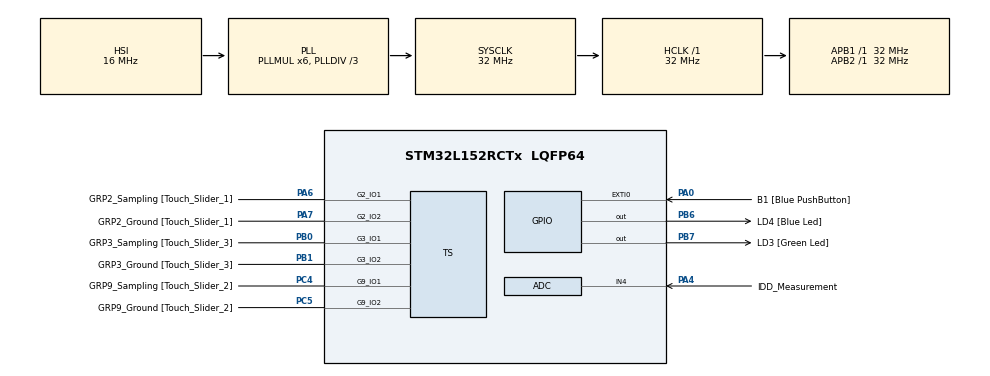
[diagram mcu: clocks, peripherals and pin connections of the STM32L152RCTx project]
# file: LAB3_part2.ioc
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ADC.Channel=ADC_CHANNEL_4
ADC.Channel-0\#ChannelRegularConversion=ADC_CHANNEL_4
ADC.Channel-IN4=ADC_CHANNEL_4
ADC.ExternalTrigConv=ADC_EXTERNALTRIGCONV_T2_CC3
ADC.ExternalTrigConv-0\#ChannelRegularConversion=ADC_SOFTWARE_START
ADC.ExternalTrigConvEdge=ADC_EXTERNALTRIGCONVEDGE_RISING
ADC.Rank-0\#ChannelRegularConversion=1
ADC.SamplingTime-0\#ChannelRegularConversion=ADC_SAMPLETIME_4CYCLES
Mcu.Family=STM32L1
Mcu.Name=STM32L152RCTx
Mcu.Package=LQFP64
NVIC.PriorityGroup=NVIC_PRIORITYGROUP_0
PA0-WKUP1.GPIO_Label=B1 [Blue PushButton]
PA0-WKUP1.GPIO_ModeDefaultEXTI=GPIO_MODE_EVT_RISING
PA0-WKUP1.GPIO_PuPd=GPIO_NOPULL
PA0-WKUP1.Signal=GPXTI0
PA1.GPIO_Label=SEG0 [GH08172T_SEG0]
PA1.GPIO_Mode=GPIO_MODE_AF_PP
PA1.GPIO_PuPd=GPIO_NOPULL
PA1.GPIO_Speed=GPIO_SPEED_FREQ_LOW
PA1.Signal=LCD_SEG0
PA10.GPIO_Label=COM2 [GH08172T_COM2]
PA10.GPIO_Mode=GPIO_MODE_AF_PP
PA10.GPIO_PuPd=GPIO_NOPULL
PA10.GPIO_Speed=GPIO_SPEED_FREQ_LOW
PA10.Signal=LCD_COM2
PA13.GPIO_Label=SWDIO
PA13.Mode=Serial_Wire
PA13.Signal=SYS_JTMS-SWDIO
PA14.GPIO_Label=SWCLK
PA14.Mode=Serial_Wire
PA14.Signal=SYS_JTCK-SWCLK
PA15.GPIO_Label=SEG12 [GH08172T_SEG12]
PA15.GPIO_Mode=GPIO_MODE_AF_PP
PA15.GPIO_PuPd=GPIO_NOPULL
PA15.GPIO_Speed=GPIO_SPEED_FREQ_LOW
PA15.Signal=LCD_SEG17
PA2.GPIO_Label=SEG1 [GH08172T_SEG1]
PA2.GPIO_Mode=GPIO_MODE_AF_PP
PA2.GPIO_PuPd=GPIO_NOPULL
PA2.GPIO_Speed=GPIO_SPEED_FREQ_LOW
PA2.Signal=LCD_SEG1
PA3.GPIO_Label=SEG2 [GH08172T_SEG2]
PA3.GPIO_Mode=GPIO_MODE_AF_PP
PA3.GPIO_PuPd=GPIO_NOPULL
PA3.GPIO_Speed=GPIO_SPEED_FREQ_LOW
PA3.Signal=LCD_SEG2
PA4.GPIO_Label=IDD_Measurement
PA4.GPIO_Mode=GPIO_MODE_ANALOG
PA4.GPIO_PuPd=GPIO_NOPULL
PA4.Mode=IN4
PA4.Signal=ADC_IN4
PA6.GPIO_Label=GRP2_Sampling [Touch_Slider_1]
PA6.Mode=G2_IO1-Sampling
PA6.Signal=TS_G2_IO1
PA7.GPIO_Label=GRP2_Ground [Touch_Slider_1]
PA7.Mode=G2_IO2-Channel
PA7.Signal=TS_G2_IO2
PA8.GPIO_Label=COM0 [GH08172T_COM0]
PA8.GPIO_Mode=GPIO_MODE_AF_PP
PA8.GPIO_PuPd=GPIO_NOPULL
PA8.GPIO_Speed=GPIO_SPEED_FREQ_LOW
PA8.Signal=LCD_COM0
PA9.GPIO_Label=COM1 [GH08172T_COM1]
PA9.GPIO_Mode=GPIO_MODE_AF_PP
PA9.GPIO_PuPd=GPIO_NOPULL
PA9.GPIO_Speed=GPIO_SPEED_FREQ_LOW
PA9.Signal=LCD_COM1
PB0.GPIO_Label=GRP3_Sampling [Touch_Slider_3]
PB0.Mode=G3_IO1-Sampling
PB0.Signal=TS_G3_IO1
PB1.GPIO_Label=GRP3_Ground [Touch_Slider_3]
PB1.Mode=G3_IO2-Channel
PB1.Signal=TS_G3_IO2
PB10.GPIO_Label=SEG6 [GH08172T_SEG6]
PB10.GPIO_Mode=GPIO_MODE_AF_PP
PB10.GPIO_PuPd=GPIO_NOPULL
PB10.GPIO_Speed=GPIO_SPEED_FREQ_LOW
PB10.Signal=LCD_SEG10
PB11.GPIO_Label=SEG7 [GH08172T_SEG7]
PB11.GPIO_Mode=GPIO_MODE_AF_PP
PB11.GPIO_PuPd=GPIO_NOPULL
PB11.GPIO_Speed=GPIO_SPEED_FREQ_LOW
PB11.Signal=LCD_SEG11
PB12.GPIO_Label=SEG8 [GH08172T_SEG8]
PB12.GPIO_Mode=GPIO_MODE_AF_PP
PB12.GPIO_PuPd=GPIO_NOPULL
PB12.GPIO_Speed=GPIO_SPEED_FREQ_LOW
PB12.Signal=LCD_SEG12
PB13.GPIO_Label=SEG9 [GH08172T_SEG9]
PB13.GPIO_Mode=GPIO_MODE_AF_PP
PB13.GPIO_PuPd=GPIO_NOPULL
PB13.GPIO_Speed=GPIO_SPEED_FREQ_LOW
PB13.Signal=LCD_SEG13
PB14.GPIO_Label=SEG10 [GH08172T_SEG10]
PB14.GPIO_Mode=GPIO_MODE_AF_PP
PB14.GPIO_PuPd=GPIO_NOPULL
PB14.GPIO_Speed=GPIO_SPEED_FREQ_LOW
PB14.Signal=LCD_SEG14
PB15.GPIO_Label=SEG11 [GH08172T_SEG11]
PB15.GPIO_Mode=GPIO_MODE_AF_PP
PB15.GPIO_PuPd=GPIO_NOPULL
PB15.GPIO_Speed=GPIO_SPEED_FREQ_LOW
PB15.Signal=LCD_SEG15
PB3.GPIO_Label=SEG3 [GH08172T_SEG3]
PB3.GPIO_Mode=GPIO_MODE_AF_PP
PB3.GPIO_PuPd=GPIO_NOPULL
PB3.GPIO_Speed=GPIO_SPEED_FREQ_LOW
PB3.Signal=LCD_SEG7
PB4.GPIO_Label=SEG4 [GH08172T_SEG4]
PB4.GPIO_Mode=GPIO_MODE_AF_PP
PB4.GPIO_PuPd=GPIO_NOPULL
PB4.GPIO_Speed=GPIO_SPEED_FREQ_LOW
PB4.Signal=LCD_SEG8
PB5.GPIO_Label=SEG5 [GH08172T_SEG5]
PB5.GPIO_Mode=GPIO_MODE_AF_PP
PB5.GPIO_PuPd=GPIO_NOPULL
PB5.GPIO_Speed=GPIO_SPEED_FREQ_LOW
PB5.Signal=LCD_SEG9
PB6.GPIO_Label=LD4 [Blue Led]
PB6.GPIO_ModeDefaultOutputPP=GPIO_MODE_OUTPUT_PP
PB6.GPIO_PuPd=GPIO_NOPULL
PB6.GPIO_Speed=GPIO_SPEED_FREQ_LOW
PB6.Signal=GPIO_Output
PB7.GPIO_Label=LD3 [Green Led]
PB7.GPIO_ModeDefaultOutputPP=GPIO_MODE_OUTPUT_PP
PB7.GPIO_PuPd=GPIO_NOPULL
PB7.GPIO_Speed=GPIO_SPEED_FREQ_LOW
PB7.Signal=GPIO_Output
PB8.GPIO_Label=SEG13 [GH08172T_SEG13]
PB8.GPIO_Mode=GPIO_MODE_AF_PP
PB8.GPIO_PuPd=GPIO_NOPULL
PB8.GPIO_Speed=GPIO_SPEED_FREQ_LOW
PB8.Signal=LCD_SEG16
PB9.GPIO_Label=COM3 [GH08172T_COM3]
PB9.GPIO_Mode=GPIO_MODE_AF_PP
PB9.GPIO_PuPd=GPIO_NOPULL
PB9.GPIO_Speed=GPIO_SPEED_FREQ_LOW
PB9.Signal=LCD_COM3
PC0.GPIO_Label=SEG14 [GH08172T_SEG14]
PC0.GPIO_Mode=GPIO_MODE_AF_PP
PC0.GPIO_PuPd=GPIO_NOPULL
PC0.GPIO_Speed=GPIO_SPEED_FREQ_LOW
PC0.Signal=LCD_SEG18
PC1.GPIO_Label=SEG15 [GH08172T_SEG15]
PC1.GPIO_Mode=GPIO_MODE_AF_PP
PC1.GPIO_PuPd=GPIO_NOPULL
PC1.GPIO_Speed=GPIO_SPEED_FREQ_LOW
PC1.Signal=LCD_SEG19
PC10.GPIO_Label=SEG22 [GH08172T_SEG22]
PC10.GPIO_Mode=GPIO_MODE_AF_PP
PC10.GPIO_PuPd=GPIO_NOPULL
PC10.GPIO_Speed=GPIO_SPEED_FREQ_LOW
PC10.Signal=LCD_SEG28
PC11.GPIO_Label=SEG23 [GH08172T_SEG23]
PC11.GPIO_Mode=GPIO_MODE_AF_PP
PC11.GPIO_PuPd=GPIO_NOPULL
PC11.GPIO_Speed=GPIO_SPEED_FREQ_LOW
PC11.Signal=LCD_SEG29
PC14-OSC32_IN.GPIO_Label=PC14-OSC32_IN
PC14-OSC32_IN.Mode=LSE-External-Oscillator
PC14-OSC32_IN.Signal=RCC_OSC32_IN
PC15-OSC32_OUT.GPIO_Label=PC15-OSC32_OUT
PC15-OSC32_OUT.Mode=LSE-External-Oscillator
PC15-OSC32_OUT.Signal=RCC_OSC32_OUT
PC2.GPIO_Label=SEG16 [GH08172T_SEG16]
PC2.GPIO_Mode=GPIO_MODE_AF_PP
PC2.GPIO_PuPd=GPIO_NOPULL
PC2.GPIO_Speed=GPIO_SPEED_FREQ_LOW
PC2.Signal=LCD_SEG20
PC3.GPIO_Label=SEG17 [GH08172T_SEG17]
PC3.GPIO_Mode=GPIO_MODE_AF_PP
PC3.GPIO_PuPd=GPIO_NOPULL
PC3.GPIO_Speed=GPIO_SPEED_FREQ_LOW
PC3.Signal=LCD_SEG21
PC4.GPIO_Label=GRP9_Sampling [Touch_Slider_2]
PC4.Mode=G9_IO1-Sampling
PC4.Signal=TS_G9_IO1
PC5.GPIO_Label=GRP9_Ground [Touch_Slider_2]
PC5.Mode=G9_IO2-Channel
PC5.Signal=TS_G9_IO2
PC6.GPIO_Label=SEG18 [GH08172T_SEG18]
PC6.GPIO_Mode=GPIO_MODE_AF_PP
PC6.GPIO_PuPd=GPIO_NOPULL
PC6.GPIO_Speed=GPIO_SPEED_FREQ_LOW
PC6.Signal=LCD_SEG24
PC7.Signal=S_TIM3_CH2
PC8.Signal=S_TIM3_CH3
PC9.GPIO_Label=SEG21 [GH08172T_SEG21]
PC9.GPIO_Mode=GPIO_MODE_AF_PP
PC9.GPIO_PuPd=GPIO_NOPULL
PC9.GPIO_Speed=GPIO_SPEED_FREQ_LOW
PC9.Signal=LCD_SEG27
ProjectManager.HeapSize=0x200
ProjectManager.StackSize=0x400
ProjectManager.TargetToolchain=STM32CubeIDE
RCC.48MHZClocksFreq_Value=48000000
RCC.AHBFreq_Value=32000000
RCC.APB1Freq_Value=32000000
RCC.APB1TimFreq_Value=32000000
RCC.APB2Freq_Value=32000000
RCC.APB2TimFreq_Value=32000000
RCC.HCLKFreq_Value=32000000
RCC.HSE_VALUE=8000000
RCC.HSI_VALUE=16000000
RCC.MSI_VALUE=2097000
RCC.PLLDIV=RCC_PLL_DIV3
RCC.PLLMUL=RCC_PLL_MUL6
RCC.RTCClockSelectionVirtual=RCC_RTCCLKSOURCE_LSE
RCC.SYSCLKFreq_VALUE=32000000
RCC.SYSCLKSource=RCC_SYSCLKSOURCE_PLLCLK
RCC.USBOutput=48000000
RCC.VCOOutputFreq_Value=96000000
SH.S_TIM3_CH2.0=TIM3_CH2
SH.S_TIM3_CH3.0=TIM3_CH3
VP_TIM3_VS_ClockSourceINT.Mode=Internal
VP_TIM4_VS_ClockSourceINT.Mode=Internal
board=STM32L152C-DISCO

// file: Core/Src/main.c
/* USER CODE BEGIN Header */
/**
  ******************************************************************************
  * @file           : main.c
  * @brief          : Main program body
  ******************************************************************************
  * @attention
  *
  * Copyright (c) 2024 STMicroelectronics.
  * All rights reserved.
  *
  * This software is licensed under terms that can be found in the LICENSE file
  * in the root directory of this software component.
  * If no LICENSE file comes with this software, it is provided AS-IS.
  *
  ******************************************************************************
  */
/* USER CODE END Header */
#include "main.h"

ADC_HandleTypeDef hadc;

TIM_HandleTypeDef htim3;
TIM_HandleTypeDef htim4;

/* USER CODE BEGIN PV */
unsigned short estado = 1; // Variable to control the state (stop, turning right...) of the car
unsigned short buzzer = 1; //Variable to turn on/off the buzzer
unsigned short button_pressed; // Variable to check if the robot has been turned on
short DC = 40; //Duty cycle//30
short pin2_state; //IR sensors
short pin1_state;

/* USER CODE END PV */

void SystemClock_Config(void);
static void MX_GPIO_Init(void);
static void MX_ADC_Init(void);
static void MX_TS_Init(void);
static void MX_TIM3_Init(void);
static void MX_TIM4_Init(void);

/* USER CODE BEGIN 0 */

// FUNCTIONS FOR MEOVEMENT
void stop(){
  GPIOC->BSRR = (1<<6)<<16;
  TIM3->CCR2 = 0; // Save new DC in CCR3

  GPIOC->BSRR = (1<<9)<<16;
  TIM3->CCR3 = 0; // Save new DC in CCR3

}

void backwards(){
  GPIOC->BSRR = (1<<6);
  TIM3->CCR2 = DC; // Save new DC in CCR3

  TIM3->CCR3 = DC; // Save new DC in CCR3
  GPIOC->BSRR = (1<<9);
}

void forward(){
  GPIOC->BSRR = (1<<6)<<16;
  //GPIOC->BSRR = (1<<7);
  TIM3->CCR2 = 50; // Save new DC in CCR3

 // GPIOC->BSRR = (1<<8);
  GPIOC->BSRR = (1<<9)<<16;
  TIM3->CCR3 = 50; // Save new DC in CCR3

}

void left(){
  GPIOC->BSRR = (1<<6)<<16;
 // GPIOC->BSRR = (1<<7);
  TIM3->CCR2 = 0; // Save new DC in CCR3

  //GPIOC->BSRR = (1<<8)<<16;
  TIM3->CCR3 = DC; // Save new DC in CCR3
  GPIOC->BSRR = (1<<9)<<16; //poner 16
}

void right(){
  GPIOC->BSRR = (1<<6)<<16;//poner <<16
  //GPIOC->BSRR = (1<<7)<<16;
  TIM3->CCR2 = DC; // Save new DC in CCR3

  //GPIOC->BSRR = (1<<8);
  GPIOC->BSRR = (1<<9)<<16;
  TIM3->CCR3 = 0; // Save new DC in CCR3

}
// end functions FOR MEOVEMENT

// IRQ HANDLERS
void EXTI0_IRQHandler(void) // ISR for EXTI0.
	// PC jumps here when the EXTI0 event occurs
{
	if (EXTI->PR!=0) {
		button_pressed=0;
		TIM4->CNT = 0; // Initialize the counter to 0
		TIM4->CR1 |= 0x0001; // CEN = 1 -> Start counter
		//The timer starts when the button is pressed

		EXTI->PR |= 0x01; // Clear the EXTI0 flag
		}
}

//IRQ HANDLER FUNCTIONS
void EXTI1_IRQHandler(void) {
    // Check if EXTI line 1's pending bit is set and the button has been pressed
    if ((EXTI->PR & (1 << 1)) && (button_pressed == 1)) {

    	pin2_state = ((GPIOC->IDR & 0x04) == 0); // True if PC2 is LOW (0) Another option: pin2_state = (GPIOC->IDR & (1 << 2)) == 0;
        pin1_state = ((GPIOC->IDR & 0x02) == 0); // True if PC1 is LOW (0) Another option: pin1_state = (GPIOC->IDR & (1 << 1)) == 0;
        // Determine action based on pin states
        if (pin1_state) { // FALLING edge for PC1
            if (pin2_state) { // Check if PC2 is detecting white/black
                estado = 1;
                forward();
            } else {
                estado = 3;
                left();
            }
        } else { // RISING edge for PC1
            if (pin2_state) {
                estado = 2;
                right();
            } else {
                estado = 0;
                stop();
            }
        }

        // Clear the EXTI1 flag
        EXTI->PR = (1 << 1); // Clear by writing 1 to PR[1]

    }
}

void EXTI2_IRQHandler(void) {
    // Ensure the interrupt was triggered for EXTI2 and button is pressed
    if ((EXTI->PR & (1 << 2)) && (button_pressed == 1)) {
        // Simplify the handling by combining conditions
    	pin2_state = ((GPIOC->IDR & 0x04) == 0); // True if PC2 is LOW (0)
    	pin1_state = ((GPIOC->IDR & 0x02) == 0); // True if PC1 is LOW (0)

        // Determine action based on pin states
        if (pin2_state) { // FALLING edge for PC2
            if (pin1_state) {
                estado = 1;
                forward();
            } else {
                estado = 2;
                right();
            }
        } else { // RISING edge for PC2
            if (pin1_state) {
                estado = 3;
                left();
            } else {
                estado = 0;
                stop();
            }
        }

        // Clear the EXTI2 flag
        EXTI->PR = (1 << 2); // Clear by writing 1 to PR[2]
    }
}

// Handler function for the BUZZER (TOC)
void TIM4_IRQHandler(void) {
	if ((TIM4->SR & 0x0002)!=0) // If the comparison is successful,
	//	then the IRQ is launched and this ISR is executed.
	//	This line check which event launched the ISR
	{
		// Check if the IRQ handler was launched because the button was pressed
		if( button_pressed ==0){
			button_pressed = 1;
			forward();
		}

		// Buzzer functionality
		TIM4->CCR1 += 500; // Update the comparison value, adding 1000 steps = 1 second
		// It is updated to 500 so the buzzer beeps every 500
		// It is on 500 cycles, and off 500 cycles, and so on
		TIM4->SR = 0x0000; // Clear all flags

		//BUZZER
		if ((estado == 2) || (estado == 3)) {
			//ZUMBADOR INTERMITENTE *****
			if(buzzer==1) { //si estaba ecendido, apagarlo (para conseguir intermitencia)
				//BUZZER ON
				GPIOB->BSRR=(1<<8)<<16; //set
				buzzer=0;
			}else{
				//PB8(buzzer) OFF
				GPIOB->BSRR=(1<<8); //reset
				buzzer=1;
			}

		}else if(estado ==0){ //pitido continuo
			//BUZZER ON
			GPIOB->BSRR=(1<<8)<<16; //encender buzzer, se enciende con un 0

		}else{
			//PA1(buzzer) OFF
			GPIOB->BSRR=(1<<8); //reset//buzzer off
		}

	}
}
// end IRQ HANDLERS

/* USER CODE END 0 */

int main(void)
{

  /* MCU Configuration--------------------------------------------------------*/

  /* Reset of all peripherals, Initializes the Flash interface and the Systick. */
  HAL_Init();

  /* Configure the system clock */
  SystemClock_Config();

  /* Initialize all configured peripherals */
  MX_GPIO_Init();
  MX_ADC_Init();
  MX_TS_Init();
  MX_TIM3_Init();
  MX_TIM4_Init();
  /* USER CODE BEGIN 2 */

  //PINS FOR THE WHEELS
  //GPIOA->MODER &= ~(0X0000FFFF); //FORCE ALL BITS TO BE 0
  GPIOC->MODER &= ~(1 << (2*6+1));
  GPIOC->MODER |= (1<<2*6); // C6 OUTPUT

  GPIOC->MODER|=0x00000001 << (2*7+1); // MODER = 10 (AF) for PC7
  GPIOC->MODER&=~(0x00000001 << (2*7));
  GPIOC->AFR[0]|=(0x02 << (7*4)); // AFR[0] to associate PC0-PC7 to AF2 (TIM3)

  GPIOC->MODER|=0x00000001 << (2*8+1);
  GPIOC->MODER&=~(0x00000001 << (2*8));
  GPIOC->AFR[1]|=(0x02 << (4*2)); // AFR[1] to associate PC8-PC15 to AF2 (TIM3)

  GPIOC->MODER &= ~(1 << (2*9+1));
  GPIOC->MODER |=  (1<<2*9); //CHANGE C9 TO BE OUTPUT MODE
  //end PINS for the wheels

  // PINS FOR IR Sensors
  GPIOC->MODER &= ~(1 << 2); //1*2 PC1
  GPIOC->MODER &= ~(1 << 3); //1*2 +1 PC1
  GPIOC->MODER &= ~(1 << 4);// 2*2 PC2
  GPIOC->MODER &= ~(1 << 5); //2*2 +1 PC2
  //end for pin for sensors

  // PIN BUZZER (PB8)
  GPIOB->MODER &= ~(1<<17); // Clear current mode. Another option:  GPIOB->MODER &= ~(1 << (8 * 2 +1));
  GPIOB->MODER |= (1<<16);  // Set mode to output for PB8. Another option: GPIOB->MODER |= (1 << (8 * 2));
  GPIOB->BSRR = (1<<8); //inicialmente encendido
  // end buzzer

  // CONFIGURATION OF THE EXTIs FOR THE SENSORS
  EXTI->FTSR |= 0x06; // Enables falling edge trigger for EXTI1 and EXTI2
  EXTI->RTSR |= 0x06; // Enables rising edge trigger for EXTI1 and EXTI2

  SYSCFG->EXTICR[0] &= ~((0xF << 4) | (0xF << 8)); // Clear the previous settings for EXTI1 and EXTI2
  SYSCFG->EXTICR[0] |= ((0x2 << 4) | (0x2 << 8)); // Set EXTI1 and EXTI2 to be connected to GPIOC

  EXTI->IMR |= 0x06; // Enables EXTI1 and EXTI2 interrupts
//  NVIC->ISER[0] |= (1<<7);
//  NVIC->ISER[0] |= (1 << 8);// Enables NVIC IRQ for EXTI1 and EXTI2
  // end EXTI configuration

  //CONFIGURATION OF THE EXTI FOR THE USER BUTTON
  GPIOA->MODER &= ~(1 << (0*2 +1)); // PA0 (USER button) as digital input (00)
  GPIOA->MODER &= ~(1 << (0*2)); // PA0 (USER button) as digital input (00)
  EXTI->FTSR |= 0x01; // Enables falling edge in EXTI0
  EXTI->RTSR &= ~(0x01); // Disables rising edge in EXTI0
  SYSCFG->EXTICR[0] &= ~(0xF); // EXTI0 linked to GPIOA (i.e. USER button = PA0)
  EXTI->IMR |= 0x01; // Enables EXTI0
  NVIC->ISER[0] |= (1 << 6); // Enables IRQ for EXTI0 (6th position)
  NVIC->ISER[0] |= (1<<7);
  NVIC->ISER[0] |= (1 << 8);// Enables NVIC IRQ for EXTI1 and EXTI2
  // end EXTI of the button configuration

  //TOC CONFIGURATION
  // Select the internal clock: CR1, CR2, SMRC
  TIM4->CR1 = 0x0000; // ARPE = 0 -> No PWM, it is TOC  CEN = 0; Counter OFF
  TIM4->CR2 = 0x0000; // Always "0" in this course
  TIM4->SMCR = 0x0000; // Always "0" in this course
  // Counter behavior setting: PSC, CNT, ARR and CCRx
  TIM4->PSC = 31999; // Pre-scaler=32000 -> F_counter=32000000/32000 = 1000 steps/second
  TIM4->CNT = 0; // Initialize the counter to 0
  TIM4->ARR = 0xFFFF; // Recommended value = FFFF (maximum)
  TIM4->CCR1 = 2000; // Record that stores the value for the comparison.2000=2s
  // The fisrt time is initialize to 2000, so after the button is pressed it waits 2 seconds
  TIM4->DIER = 0x0002; // An IRQ is generated as the comparison is successful -> CCyIE = 1
  TIM4->CCMR1 = 0x0000; // CCyS = 0 (TOC)
  TIM4->CCER = 0x0000; // CCyP = 0 (always in TOC)   CCyE = 0 (external output disabled)

  TIM4->EGR |= 0x0001; // UG = 1 -> Generate an update event to update all registers
  TIM4->SR = 0; // Clear counter flags
  NVIC->ISER[0] |= (1 << 30); //30 is TIM4

  /**********************************
  //LAB 3
  **********************************/

   //PWM3 INITIALIZATION
   TIM3 -> CR1 = 0x0080; //ACTIVATE PWM MODE
   TIM3 -> CR2 = 0x0000;
   TIM3 -> SMCR = 0x0000;
   TIM3 -> PSC = 31999;
   TIM3 -> CNT = 0;
   TIM3 -> ARR = 100;// MAXIMUM VALUE OF THE COUNTER (cuando llega vuelve a 0s)
   TIM3 -> CCR3 = 0;
   TIM3 -> CCR2 = 0;
   TIM3 -> DIER = 0x0000;//no interrupts

   TIM3 -> CCMR2 = 0x0068;//IN BOTH CHANNELS GOES THE SAME CONFIGURATION
   TIM3 -> CCMR1 = 0x6800;//IN BOTH CHANNELS GOES THE SAME CONFIGURATION
   //Starting the cycle at 1
   TIM3 -> CCER = 0x0110;//0x1100;(mal)// ALWAYS IN PWM AND HARDWARE OUTPUT ACTIVE
   TIM3 -> CR1 |= 0x0001;
   TIM3 -> EGR |= 0x0001;
   TIM3 -> SR = 0;

  /* USER CODE END 2 */

  /* Infinite loop */
  while (1)
  {

  }
}

void SystemClock_Config(void)
{
  RCC_OscInitTypeDef RCC_OscInitStruct = {0};
  RCC_ClkInitTypeDef RCC_ClkInitStruct = {0};

  /** Configure the main internal regulator output voltage
  */
  __HAL_PWR_VOLTAGESCALING_CONFIG(PWR_REGULATOR_VOLTAGE_SCALE1);

  /** Initializes the RCC Oscillators according to the specified parameters
  * in the RCC_OscInitTypeDef structure.
  */
  RCC_OscInitStruct.OscillatorType = RCC_OSCILLATORTYPE_HSI;
  RCC_OscInitStruct.HSIState = RCC_HSI_ON;
  RCC_OscInitStruct.HSICalibrationValue = RCC_HSICALIBRATION_DEFAULT;
  RCC_OscInitStruct.PLL.PLLState = RCC_PLL_ON;
  RCC_OscInitStruct.PLL.PLLSource = RCC_PLLSOURCE_HSI;
  RCC_OscInitStruct.PLL.PLLMUL = RCC_PLL_MUL6;
  RCC_OscInitStruct.PLL.PLLDIV = RCC_PLL_DIV3;
  if (HAL_RCC_OscConfig(&RCC_OscInitStruct) != HAL_OK)
  {
    Error_Handler();
  }

  /** Initializes the CPU, AHB and APB buses clocks
  */
  RCC_ClkInitStruct.ClockType = RCC_CLOCKTYPE_HCLK|RCC_CLOCKTYPE_SYSCLK
                              |RCC_CLOCKTYPE_PCLK1|RCC_CLOCKTYPE_PCLK2;
  RCC_ClkInitStruct.SYSCLKSource = RCC_SYSCLKSOURCE_PLLCLK;
  RCC_ClkInitStruct.AHBCLKDivider = RCC_SYSCLK_DIV1;
  RCC_ClkInitStruct.APB1CLKDivider = RCC_HCLK_DIV1;
  RCC_ClkInitStruct.APB2CLKDivider = RCC_HCLK_DIV1;

  if (HAL_RCC_ClockConfig(&RCC_ClkInitStruct, FLASH_LATENCY_1) != HAL_OK)
  {
    Error_Handler();
  }
}

static void MX_ADC_Init(void)
{

  ADC_ChannelConfTypeDef sConfig = {0};

  /** Configure the global features of the ADC (Clock, Resolution, Data Alignment and number of conversion)
  */
  hadc.Instance = ADC1;
  hadc.Init.ClockPrescaler = ADC_CLOCK_ASYNC_DIV1;
  hadc.Init.Resolution = ADC_RESOLUTION_12B;
  hadc.Init.DataAlign = ADC_DATAALIGN_RIGHT;
  hadc.Init.ScanConvMode = ADC_SCAN_DISABLE;
  hadc.Init.EOCSelection = ADC_EOC_SEQ_CONV;
  hadc.Init.LowPowerAutoWait = ADC_AUTOWAIT_DISABLE;
  hadc.Init.LowPowerAutoPowerOff = ADC_AUTOPOWEROFF_DISABLE;
  hadc.Init.ChannelsBank = ADC_CHANNELS_BANK_A;
  hadc.Init.ContinuousConvMode = DISABLE;
  hadc.Init.NbrOfConversion = 1;
  hadc.Init.DiscontinuousConvMode = DISABLE;
  hadc.Init.ExternalTrigConv = ADC_EXTERNALTRIGCONV_T2_CC3;
  hadc.Init.ExternalTrigConvEdge = ADC_EXTERNALTRIGCONVEDGE_RISING;
  hadc.Init.DMAContinuousRequests = DISABLE;
  if (HAL_ADC_Init(&hadc) != HAL_OK)
  {
    Error_Handler();
  }

  /** Configure for the selected ADC regular channel its corresponding rank in the sequencer and its sample time.
  */
  sConfig.Channel = ADC_CHANNEL_4;
  sConfig.Rank = ADC_REGULAR_RANK_1;
  sConfig.SamplingTime = ADC_SAMPLETIME_4CYCLES;
  if (HAL_ADC_ConfigChannel(&hadc, &sConfig) != HAL_OK)
  {
    Error_Handler();
  }

}

static void MX_TIM3_Init(void)
{

  TIM_ClockConfigTypeDef sClockSourceConfig = {0};
  TIM_MasterConfigTypeDef sMasterConfig = {0};

  htim3.Instance = TIM3;
  htim3.Init.Prescaler = 0;
  htim3.Init.CounterMode = TIM_COUNTERMODE_UP;
  htim3.Init.Period = 65535;
  htim3.Init.ClockDivision = TIM_CLOCKDIVISION_DIV1;
  htim3.Init.AutoReloadPreload = TIM_AUTORELOAD_PRELOAD_DISABLE;
  if (HAL_TIM_Base_Init(&htim3) != HAL_OK)
  {
    Error_Handler();
  }
  sClockSourceConfig.ClockSource = TIM_CLOCKSOURCE_INTERNAL;
  if (HAL_TIM_ConfigClockSource(&htim3, &sClockSourceConfig) != HAL_OK)
  {
    Error_Handler();
  }
  sMasterConfig.MasterOutputTrigger = TIM_TRGO_RESET;
  sMasterConfig.MasterSlaveMode = TIM_MASTERSLAVEMODE_DISABLE;
  if (HAL_TIMEx_MasterConfigSynchronization(&htim3, &sMasterConfig) != HAL_OK)
  {
    Error_Handler();
  }

}

static void MX_TIM4_Init(void)
{

  TIM_ClockConfigTypeDef sClockSourceConfig = {0};
  TIM_MasterConfigTypeDef sMasterConfig = {0};

  htim4.Instance = TIM4;
  htim4.Init.Prescaler = 0;
  htim4.Init.CounterMode = TIM_COUNTERMODE_UP;
  htim4.Init.Period = 65535;
  htim4.Init.ClockDivision = TIM_CLOCKDIVISION_DIV1;
  htim4.Init.AutoReloadPreload = TIM_AUTORELOAD_PRELOAD_DISABLE;
  if (HAL_TIM_Base_Init(&htim4) != HAL_OK)
  {
    Error_Handler();
  }
  sClockSourceConfig.ClockSource = TIM_CLOCKSOURCE_INTERNAL;
  if (HAL_TIM_ConfigClockSource(&htim4, &sClockSourceConfig) != HAL_OK)
  {
    Error_Handler();
  }
  sMasterConfig.MasterOutputTrigger = TIM_TRGO_RESET;
  sMasterConfig.MasterSlaveMode = TIM_MASTERSLAVEMODE_DISABLE;
  if (HAL_TIMEx_MasterConfigSynchronization(&htim4, &sMasterConfig) != HAL_OK)
  {
    Error_Handler();
  }

}

static void MX_TS_Init(void)
{

}

static void MX_GPIO_Init(void)
{
  GPIO_InitTypeDef GPIO_InitStruct = {0};

  /* GPIO Ports Clock Enable */
  __HAL_RCC_GPIOC_CLK_ENABLE();
  __HAL_RCC_GPIOA_CLK_ENABLE();
  __HAL_RCC_GPIOB_CLK_ENABLE();

  /*Configure GPIO pin Output Level */
  HAL_GPIO_WritePin(GPIOB, LD4_Pin|LD3_Pin, GPIO_PIN_RESET);

  /*Configure GPIO pins : SEG14_Pin SEG15_Pin SEG16_Pin SEG17_Pin
                           SEG18_Pin SEG21_Pin SEG22_Pin SEG23_Pin */
  GPIO_InitStruct.Pin = SEG14_Pin|SEG15_Pin|SEG16_Pin|SEG17_Pin
                          |SEG18_Pin|SEG21_Pin|SEG22_Pin|SEG23_Pin;
  GPIO_InitStruct.Mode = GPIO_MODE_AF_PP;
  GPIO_InitStruct.Pull = GPIO_NOPULL;
  GPIO_InitStruct.Speed = GPIO_SPEED_FREQ_LOW;
  GPIO_InitStruct.Alternate = GPIO_AF11_LCD;
  HAL_GPIO_Init(GPIOC, &GPIO_InitStruct);

  /*Configure GPIO pin : B1_Pin */
  GPIO_InitStruct.Pin = B1_Pin;
  GPIO_InitStruct.Mode = GPIO_MODE_EVT_RISING;
  GPIO_InitStruct.Pull = GPIO_NOPULL;
  HAL_GPIO_Init(B1_GPIO_Port, &GPIO_InitStruct);

  /*Configure GPIO pins : SEG0_Pin SEG1_Pin SEG2_Pin COM0_Pin
                           COM1_Pin COM2_Pin SEG12_Pin */
  GPIO_InitStruct.Pin = SEG0_Pin|SEG1_Pin|SEG2_Pin|COM0_Pin
                          |COM1_Pin|COM2_Pin|SEG12_Pin;
  GPIO_InitStruct.Mode = GPIO_MODE_AF_PP;
  GPIO_InitStruct.Pull = GPIO_NOPULL;
  GPIO_InitStruct.Speed = GPIO_SPEED_FREQ_LOW;
  GPIO_InitStruct.Alternate = GPIO_AF11_LCD;
  HAL_GPIO_Init(GPIOA, &GPIO_InitStruct);

  /*Configure GPIO pins : SEG6_Pin SEG7_Pin SEG8_Pin SEG9_Pin
                           SEG10_Pin SEG11_Pin SEG3_Pin SEG4_Pin
                           SEG5_Pin SEG13_Pin COM3_Pin */
  GPIO_InitStruct.Pin = SEG6_Pin|SEG7_Pin|SEG8_Pin|SEG9_Pin
                          |SEG10_Pin|SEG11_Pin|SEG3_Pin|SEG4_Pin
                          |SEG5_Pin|SEG13_Pin|COM3_Pin;
  GPIO_InitStruct.Mode = GPIO_MODE_AF_PP;
  GPIO_InitStruct.Pull = GPIO_NOPULL;
  GPIO_InitStruct.Speed = GPIO_SPEED_FREQ_LOW;
  GPIO_InitStruct.Alternate = GPIO_AF11_LCD;
  HAL_GPIO_Init(GPIOB, &GPIO_InitStruct);

  /*Configure GPIO pins : LD4_Pin LD3_Pin */
  GPIO_InitStruct.Pin = LD4_Pin|LD3_Pin;
  GPIO_InitStruct.Mode = GPIO_MODE_OUTPUT_PP;
  GPIO_InitStruct.Pull = GPIO_NOPULL;
  GPIO_InitStruct.Speed = GPIO_SPEED_FREQ_LOW;
  HAL_GPIO_Init(GPIOB, &GPIO_InitStruct);

}

void Error_Handler(void)
{
  __disable_irq();
  while (1)
  {
  }
}
